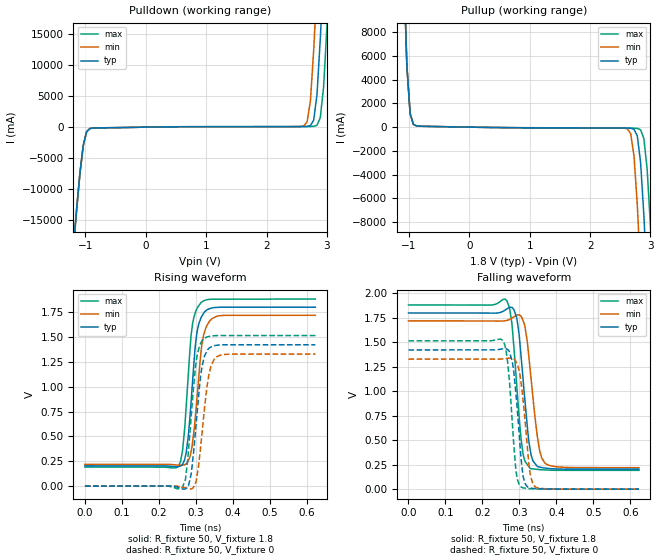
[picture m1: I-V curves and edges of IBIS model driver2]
| IBIS file inv_chain_fast_5ps_tr20ps.ibs created by PYS2IBIS3
| Missouri S&T EMC Lab
[IBIS Ver] 7.1
[File Name] inv_chain_fast_5ps_tr20ps.ibs
[File Rev] 1.0
[Date] Jul 27, 2026
[Source] Eight-stage inv_chain transistor model characterized with s2ibispy
[Notes] Parameter selection; sim_time=6.231e-10, tr=tf=2.000e-11.
[Component] invchain
[Manufacturer] s2ibispy study
[Package]
| variable   typ   min   max
R_pkg 0 NA NA
L_pkg 0H NA NA
C_pkg 0F NA NA
[Pin]  signal_name   model_name   R_pin   L_pin   C_pin
VSSQ   VSSQ   Gnd
VCCQ   VCCQ   Power
| IN IN dummy
PAD   PAD   driver2
| End of Component
| Models and submodels in the file (1): driver2 (Output)
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[Model] driver2
Model_type Output
Polarity Non-Inverting
Enable Active-High
Vinl  = 0.8V
Vinh  = 2V
C_comp 0.4680pF NA NA
[Temperature Range] 27.0000 27.0000 27.0000
[Voltage Range] 1.8000V 1.7000V 1.9000V
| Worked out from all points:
|   slope of the pulldown table from 0 to 0.27 V, typ, clamps not added: 6.79 ohm
|   slope of the pullup table from 0 to 0.27 V, typ, clamps not added: 12.6 ohm
|   rising waveform, R_fixture 50, V_fixture 1.8: 20-80 % time 20.5ps typ, 22.1ps min, 19.4ps max; typ from 0.204 V to 1.8 V
|   rising waveform, R_fixture 50, V_fixture 0: 20-80 % time 21.6ps typ, 23.4ps min, 20.6ps max; typ from 0 V to 1.42 V
|   falling waveform, R_fixture 50, V_fixture 1.8: 20-80 % time 22.6ps typ, 25.4ps min, 20.9ps max; typ from 1.8 V to 0.204 V
|   falling waveform, R_fixture 50, V_fixture 0: 20-80 % time 18.7ps typ, 19.9ps min, 17.1ps max; typ from 1.42 V to 0 V
[Pulldown]
| Voltage   I(typ)   I(min)   I(max)
-1.8V     -87.88A    -87.88A    -87.88A
-1.2V     -19.4A     -19.4A     -19.4A
-1.036V   -2.952A    -2.948A    -2.955A
-927.3mV  -221.8mA   -216.4mA   -227mA
2.618V    95.77mA    193.1mA    97.15mA
2.727V    244.8mA    4.224A     106.4mA
2.782V    1.151A     12.49A     132.5mA
2.836V    5.27A      23.04A     313.7mA
2.891V    14.25A     33.59A     1.533A
2.946V    24.81A     44.15A     6.464A
3V        35.36A     54.71A     16.02A
3.6V      151.5A     170.8A     132.1A
[Pullup]
| Voltage   I(typ)   I(min)   I(max)
-1.8V     151.4A     151.4A     151.4A
-1.091V   14.2A      14.19A     14.2A
-981.8mV  1.13A      1.129A     1.132A
-872.7mV  99.18mA    97.54mA    100.6mA
2.618V    -78.19mA   -142.5mA   -79.21mA
2.727V    -177.2mA   -2.408A    -86.52mA
2.782V    -728.3mA   -6.523A    -104.6mA
2.836V    -2.952A    -12.18A    -222.3mA
2.891V    -7.391A    -18.4A     -950.7mA
2.946V    -13.22A    -24.62A    -3.561A
3V        -19.44A    -30.85A    -8.297A
3.6V      -87.92A    -99.33A    -76.52A
[Ramp]
| variable   typ   min   max
dV/dt_r 0.8532/0.02163n 0.7968/0.02332n 0.9090/0.02058n
dV/dt_f 0.9575/0.02299n 0.8972/0.02483n 1.0171/0.02129n
R_load = 50
[Rising Waveform]
R_fixture = 50
V_fixture = 1.8
|time   V(typ)   V(min)   V(max)
0s        204.2mV    219.5mV    192.2mV
253.9ps   196.4mV    210.4mV    207.7mV
264.5ps   222.7mV    211.3mV    372.5mV
273.2ps   320.3mV    223.3mV    758mV
288.8ps   933.1mV    375.9mV    1.567V
301.9ps   1.522V     825.1mV    1.778V
314.4ps   1.698V     1.364V     1.848V
328.7ps   1.77V      1.608V     1.874V
358.7ps   1.799V     1.711V     1.882V
623.1ps   1.8V       1.719V     1.882V
[Rising Waveform]
R_fixture = 50
V_fixture = 0
|time   V(typ)   V(min)   V(max)
0s        13.08nV    12.76nV    13.48nV
263.2ps   -28.37mV   -8.857mV   -13.87mV
272ps     -26.8mV    -19.32mV   75.01mV
286.9ps   113.6mV    -29.16mV   679.1mV
300ps     599.2mV    37.68mV    1.228V
312.5ps   1.095V     379mV      1.433V
321.9ps   1.287V     728.9mV    1.484V
336.2ps   1.39V      1.137V     1.507V
358ps     1.418V     1.304V     1.515V
623.1ps   1.422V     1.328V     1.515V
[Falling Waveform]
R_fixture = 50
V_fixture = 1.8
|time   V(typ)   V(min)   V(max)
0s        1.8V       1.719V     1.882V
265.7ps   1.841V     1.724V     1.926V
279.4ps   1.857V     1.747V     1.702V
292.5ps   1.754V     1.777V     1.069V
300.6ps   1.522V     1.78V      672.8mV
314.4ps   922.7mV    1.673V     289.9mV
331.2ps   353.9mV    1.141V     208.8mV
353ps     226.2mV    427.9mV    200.4mV
368ps     215.7mV    270.2mV    196.4mV
623.1ps   204.2mV    219.5mV    192.2mV
[Falling Waveform]
R_fixture = 50
V_fixture = 0
|time   V(typ)   V(min)   V(max)
0s        1.422V     1.328V     1.515V
255.7ps   1.435V     1.332V     1.515V
267ps     1.43V      1.337V     1.336V
280.7ps   1.301V     1.338V     684.5mV
291.3ps   955.4mV    1.299V     169mV
304.4ps   313.3mV    1.091V     21.79mV
311.9ps   98.97mV    835.7mV    11.6mV
326.8ps   13.86mV    218.1mV    5.477mV
342.4ps   5.961mV    23.26mV    2.478mV
623.1ps   107.8nV    -144nV     117.7nV
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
